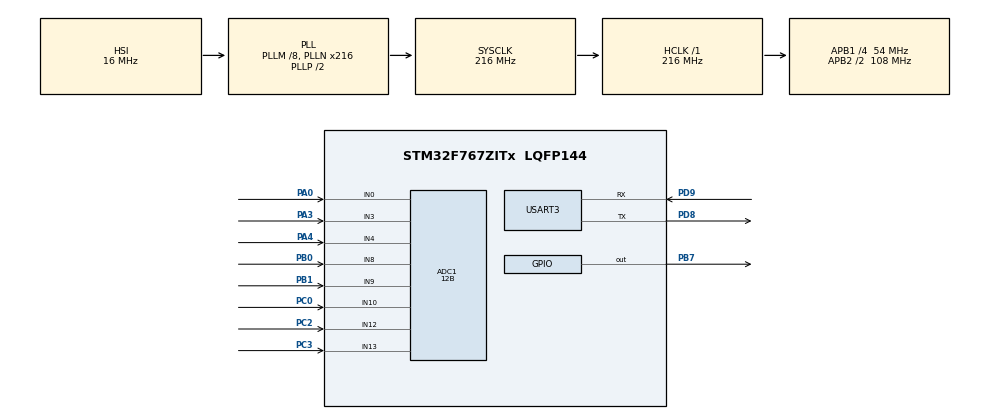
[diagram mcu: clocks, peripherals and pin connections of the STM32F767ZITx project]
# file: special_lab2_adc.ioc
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ADC1.Channel-10\#ChannelRegularConversion=ADC_CHANNEL_4
ADC1.Channel-11\#ChannelRegularConversion=ADC_CHANNEL_8
ADC1.Channel-12\#ChannelRegularConversion=ADC_CHANNEL_9
ADC1.Channel-13\#ChannelRegularConversion=ADC_CHANNEL_10
ADC1.Channel-14\#ChannelRegularConversion=ADC_CHANNEL_12
ADC1.Channel-15\#ChannelRegularConversion=ADC_CHANNEL_13
ADC1.Channel-8\#ChannelRegularConversion=ADC_CHANNEL_0
ADC1.Channel-9\#ChannelRegularConversion=ADC_CHANNEL_3
ADC1.ClockPrescaler=ADC_CLOCK_SYNC_PCLK_DIV8
ADC1.ContinuousConvMode=ENABLE
ADC1.DMAContinuousRequests=ENABLE
ADC1.NbrOfConversion=8
ADC1.NbrOfConversionFlag=1
ADC1.Rank-10\#ChannelRegularConversion=3
ADC1.Rank-11\#ChannelRegularConversion=4
ADC1.Rank-12\#ChannelRegularConversion=5
ADC1.Rank-13\#ChannelRegularConversion=6
ADC1.Rank-14\#ChannelRegularConversion=7
ADC1.Rank-15\#ChannelRegularConversion=8
ADC1.Rank-8\#ChannelRegularConversion=1
ADC1.Rank-9\#ChannelRegularConversion=2
ADC1.Resolution=ADC_RESOLUTION_12B
ADC1.SamplingTime-10\#ChannelRegularConversion=ADC_SAMPLETIME_15CYCLES
ADC1.SamplingTime-11\#ChannelRegularConversion=ADC_SAMPLETIME_15CYCLES
ADC1.SamplingTime-12\#ChannelRegularConversion=ADC_SAMPLETIME_15CYCLES
ADC1.SamplingTime-13\#ChannelRegularConversion=ADC_SAMPLETIME_15CYCLES
ADC1.SamplingTime-14\#ChannelRegularConversion=ADC_SAMPLETIME_15CYCLES
ADC1.SamplingTime-15\#ChannelRegularConversion=ADC_SAMPLETIME_15CYCLES
ADC1.SamplingTime-8\#ChannelRegularConversion=ADC_SAMPLETIME_15CYCLES
ADC1.SamplingTime-9\#ChannelRegularConversion=ADC_SAMPLETIME_15CYCLES
ADC1.ScanConvMode=ADC_SCAN_ENABLE
ADC1.master=1
Dma.ADC1.0.Direction=DMA_PERIPH_TO_MEMORY
Dma.ADC1.0.FIFOMode=DMA_FIFOMODE_ENABLE
Dma.ADC1.0.FIFOThreshold=DMA_FIFO_THRESHOLD_FULL
Dma.ADC1.0.Instance=DMA2_Stream0
Dma.ADC1.0.MemBurst=DMA_MBURST_SINGLE
Dma.ADC1.0.MemDataAlignment=DMA_MDATAALIGN_WORD
Dma.ADC1.0.MemInc=DMA_MINC_ENABLE
Dma.ADC1.0.Mode=DMA_CIRCULAR
Dma.ADC1.0.PeriphBurst=DMA_PBURST_SINGLE
Dma.ADC1.0.PeriphDataAlignment=DMA_PDATAALIGN_WORD
Dma.ADC1.0.PeriphInc=DMA_PINC_DISABLE
Dma.ADC1.0.Priority=DMA_PRIORITY_LOW
Dma.Request0=ADC1
Mcu.Family=STM32F7
Mcu.Name=STM32F767ZITx
Mcu.Package=LQFP144
NVIC.DMA2_Stream0_IRQn=true\:1\:0\:true\:false\:true\:false\:true\:true
NVIC.PriorityGroup=NVIC_PRIORITYGROUP_2
PA0/WKUP.Signal=ADCx_IN0
PA3.Signal=ADCx_IN3
PA4.Signal=ADCx_IN4
PB0.Signal=ADCx_IN8
PB1.Signal=ADCx_IN9
PB7.Signal=GPIO_Output
PC0.Signal=ADCx_IN10
PC2.Signal=ADCx_IN12
PC3.Signal=ADCx_IN13
PD8.Mode=Asynchronous
PD8.Signal=USART3_TX
PD9.Mode=Asynchronous
PD9.Signal=USART3_RX
ProjectManager.HeapSize=0x200
ProjectManager.StackSize=0x400
ProjectManager.TargetToolchain=STM32CubeIDE
RCC.AHBFreq_Value=216000000
RCC.APB1CLKDivider=RCC_HCLK_DIV4
RCC.APB1Freq_Value=54000000
RCC.APB1TimFreq_Value=108000000
RCC.APB2CLKDivider=RCC_HCLK_DIV2
RCC.APB2Freq_Value=108000000
RCC.APB2TimFreq_Value=216000000
RCC.CortexFreq_Value=216000000
RCC.HCLKFreq_Value=216000000
RCC.HSE_VALUE=25000000
RCC.HSI_VALUE=16000000
RCC.LSE_VALUE=32768
RCC.PLLM=8
RCC.PLLN=216
RCC.SYSCLKFreq_VALUE=216000000
RCC.SYSCLKSource=RCC_SYSCLKSOURCE_PLLCLK
RCC.USBFreq_Value=216000000
RCC.VCOOutputFreq_Value=432000000
SH.ADCx_IN0.0=ADC1_IN0,IN0
SH.ADCx_IN10.0=ADC1_IN10,IN10
SH.ADCx_IN12.0=ADC1_IN12,IN12
SH.ADCx_IN13.0=ADC1_IN13,IN13
SH.ADCx_IN3.0=ADC1_IN3,IN3
SH.ADCx_IN4.0=ADC1_IN4,IN4
SH.ADCx_IN8.0=ADC1_IN8,IN8
SH.ADCx_IN9.0=ADC1_IN9,IN9
USART3.VirtualMode-Asynchronous=VM_ASYNC
board=custom

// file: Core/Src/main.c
/* USER CODE BEGIN Header */
/**
 ******************************************************************************
 * @file           : main.c
 * @brief          : Main program body
 ******************************************************************************
 * @attention
 *
 * Copyright (c) 2023 STMicroelectronics.
 * All rights reserved.
 *
 * This software is licensed under terms that can be found in the LICENSE file
 * in the root directory of this software component.
 * If no LICENSE file comes with this software, it is provided AS-IS.
 *
 ******************************************************************************
 */
/* USER CODE END Header */
#include "main.h"

ADC_HandleTypeDef hadc1;
DMA_HandleTypeDef hdma_adc1;

UART_HandleTypeDef huart3;

void SystemClock_Config(void);
static void MX_GPIO_Init(void);
static void MX_DMA_Init(void);
static void MX_ADC1_Init(void);
static void MX_USART3_UART_Init(void);

/* USER CODE BEGIN 0 */
void cleverSend(UART_HandleTypeDef huart, char *tosend) {
	while (__HAL_UART_GET_FLAG(&huart,UART_FLAG_TC) == RESET) {
	}
	HAL_UART_Transmit(&huart, (uint8_t*) tosend, strlen(tosend), HAL_MAX_DELAY);
}

char printBuffer[100] = { 0 };
volatile uint32_t adc_dma_result[8];
int adc_channel_count = 8;

void HAL_ADC_ConvCpltCallback(ADC_HandleTypeDef *hadc) {
	HAL_GPIO_WritePin(GPIOB, GPIO_PIN_7, GPIO_PIN_RESET); // ดับ LED
	sprintf(printBuffer,
			"%4u %4u %4u %4u\n%4u %4u %4u %4u\r",
			adc_dma_result[0], adc_dma_result[1], adc_dma_result[2],
			adc_dma_result[3], adc_dma_result[4], adc_dma_result[5],
			adc_dma_result[6], adc_dma_result[7]);
	while (__HAL_UART_GET_FLAG(&huart3,UART_FLAG_TC) == RESET) {
	}
	HAL_UART_Transmit(&huart3, (uint8_t*) printBuffer, strlen(printBuffer),
			HAL_MAX_DELAY);
	HAL_ADC_Stop_DMA(&hadc1);
	HAL_Delay(1000);
	HAL_ADC_Start_DMA(&hadc1, (uint32_t*) adc_dma_result, adc_channel_count);
}
void HAL_ADC_ConvHalfCpltCallback(ADC_HandleTypeDef *hadc) {
	// เมื่อ DMA ถ่ายโอนข้อมูลครึ่งหนึ่ง
	HAL_GPIO_WritePin(GPIOB, GPIO_PIN_7, GPIO_PIN_SET); // ติด LED
}

/* USER CODE END 0 */

int main(void)
{

  /* MCU Configuration--------------------------------------------------------*/

  /* Reset of all peripherals, Initializes the Flash interface and the Systick. */
  HAL_Init();

  /* Configure the system clock */
  SystemClock_Config();

  /* Initialize all configured peripherals */
  MX_GPIO_Init();
  MX_DMA_Init();
  MX_ADC1_Init();
  MX_USART3_UART_Init();
  /* USER CODE BEGIN 2 */

	HAL_ADC_Start_DMA(&hadc1, (uint32_t*) adc_dma_result, adc_channel_count);

  /* USER CODE END 2 */

  /* Infinite loop */
	while (1) {

	}
}

void SystemClock_Config(void)
{
  RCC_OscInitTypeDef RCC_OscInitStruct = {0};
  RCC_ClkInitTypeDef RCC_ClkInitStruct = {0};

  /** Configure the main internal regulator output voltage
  */
  __HAL_RCC_PWR_CLK_ENABLE();
  __HAL_PWR_VOLTAGESCALING_CONFIG(PWR_REGULATOR_VOLTAGE_SCALE1);

  /** Initializes the RCC Oscillators according to the specified parameters
  * in the RCC_OscInitTypeDef structure.
  */
  RCC_OscInitStruct.OscillatorType = RCC_OSCILLATORTYPE_HSI;
  RCC_OscInitStruct.HSIState = RCC_HSI_ON;
  RCC_OscInitStruct.HSICalibrationValue = RCC_HSICALIBRATION_DEFAULT;
  RCC_OscInitStruct.PLL.PLLState = RCC_PLL_ON;
  RCC_OscInitStruct.PLL.PLLSource = RCC_PLLSOURCE_HSI;
  RCC_OscInitStruct.PLL.PLLM = 8;
  RCC_OscInitStruct.PLL.PLLN = 216;
  RCC_OscInitStruct.PLL.PLLP = RCC_PLLP_DIV2;
  RCC_OscInitStruct.PLL.PLLQ = 2;
  RCC_OscInitStruct.PLL.PLLR = 2;
  if (HAL_RCC_OscConfig(&RCC_OscInitStruct) != HAL_OK)
  {
    Error_Handler();
  }

  /** Activate the Over-Drive mode
  */
  if (HAL_PWREx_EnableOverDrive() != HAL_OK)
  {
    Error_Handler();
  }

  /** Initializes the CPU, AHB and APB buses clocks
  */
  RCC_ClkInitStruct.ClockType = RCC_CLOCKTYPE_HCLK|RCC_CLOCKTYPE_SYSCLK
                              |RCC_CLOCKTYPE_PCLK1|RCC_CLOCKTYPE_PCLK2;
  RCC_ClkInitStruct.SYSCLKSource = RCC_SYSCLKSOURCE_PLLCLK;
  RCC_ClkInitStruct.AHBCLKDivider = RCC_SYSCLK_DIV1;
  RCC_ClkInitStruct.APB1CLKDivider = RCC_HCLK_DIV4;
  RCC_ClkInitStruct.APB2CLKDivider = RCC_HCLK_DIV2;

  if (HAL_RCC_ClockConfig(&RCC_ClkInitStruct, FLASH_LATENCY_7) != HAL_OK)
  {
    Error_Handler();
  }
}

static void MX_ADC1_Init(void)
{

  ADC_ChannelConfTypeDef sConfig = {0};

  /** Configure the global features of the ADC (Clock, Resolution, Data Alignment and number of conversion)
  */
  hadc1.Instance = ADC1;
  hadc1.Init.ClockPrescaler = ADC_CLOCK_SYNC_PCLK_DIV8;
  hadc1.Init.Resolution = ADC_RESOLUTION_12B;
  hadc1.Init.ScanConvMode = ADC_SCAN_ENABLE;
  hadc1.Init.ContinuousConvMode = ENABLE;
  hadc1.Init.DiscontinuousConvMode = DISABLE;
  hadc1.Init.ExternalTrigConvEdge = ADC_EXTERNALTRIGCONVEDGE_NONE;
  hadc1.Init.ExternalTrigConv = ADC_SOFTWARE_START;
  hadc1.Init.DataAlign = ADC_DATAALIGN_RIGHT;
  hadc1.Init.NbrOfConversion = 8;
  hadc1.Init.DMAContinuousRequests = ENABLE;
  hadc1.Init.EOCSelection = ADC_EOC_SINGLE_CONV;
  if (HAL_ADC_Init(&hadc1) != HAL_OK)
  {
    Error_Handler();
  }

  /** Configure for the selected ADC regular channel its corresponding rank in the sequencer and its sample time.
  */
  sConfig.Channel = ADC_CHANNEL_0;
  sConfig.Rank = ADC_REGULAR_RANK_1;
  sConfig.SamplingTime = ADC_SAMPLETIME_15CYCLES;
  if (HAL_ADC_ConfigChannel(&hadc1, &sConfig) != HAL_OK)
  {
    Error_Handler();
  }

  /** Configure for the selected ADC regular channel its corresponding rank in the sequencer and its sample time.
  */
  sConfig.Channel = ADC_CHANNEL_3;
  sConfig.Rank = ADC_REGULAR_RANK_2;
  if (HAL_ADC_ConfigChannel(&hadc1, &sConfig) != HAL_OK)
  {
    Error_Handler();
  }

  /** Configure for the selected ADC regular channel its corresponding rank in the sequencer and its sample time.
  */
  sConfig.Channel = ADC_CHANNEL_4;
  sConfig.Rank = ADC_REGULAR_RANK_3;
  if (HAL_ADC_ConfigChannel(&hadc1, &sConfig) != HAL_OK)
  {
    Error_Handler();
  }

  /** Configure for the selected ADC regular channel its corresponding rank in the sequencer and its sample time.
  */
  sConfig.Channel = ADC_CHANNEL_8;
  sConfig.Rank = ADC_REGULAR_RANK_4;
  if (HAL_ADC_ConfigChannel(&hadc1, &sConfig) != HAL_OK)
  {
    Error_Handler();
  }

  /** Configure for the selected ADC regular channel its corresponding rank in the sequencer and its sample time.
  */
  sConfig.Channel = ADC_CHANNEL_9;
  sConfig.Rank = ADC_REGULAR_RANK_5;
  if (HAL_ADC_ConfigChannel(&hadc1, &sConfig) != HAL_OK)
  {
    Error_Handler();
  }

  /** Configure for the selected ADC regular channel its corresponding rank in the sequencer and its sample time.
  */
  sConfig.Channel = ADC_CHANNEL_10;
  sConfig.Rank = ADC_REGULAR_RANK_6;
  if (HAL_ADC_ConfigChannel(&hadc1, &sConfig) != HAL_OK)
  {
    Error_Handler();
  }

  /** Configure for the selected ADC regular channel its corresponding rank in the sequencer and its sample time.
  */
  sConfig.Channel = ADC_CHANNEL_12;
  sConfig.Rank = ADC_REGULAR_RANK_7;
  if (HAL_ADC_ConfigChannel(&hadc1, &sConfig) != HAL_OK)
  {
    Error_Handler();
  }

  /** Configure for the selected ADC regular channel its corresponding rank in the sequencer and its sample time.
  */
  sConfig.Channel = ADC_CHANNEL_13;
  sConfig.Rank = ADC_REGULAR_RANK_8;
  if (HAL_ADC_ConfigChannel(&hadc1, &sConfig) != HAL_OK)
  {
    Error_Handler();
  }

}

static void MX_USART3_UART_Init(void)
{

  huart3.Instance = USART3;
  huart3.Init.BaudRate = 115200;
  huart3.Init.WordLength = UART_WORDLENGTH_8B;
  huart3.Init.StopBits = UART_STOPBITS_1;
  huart3.Init.Parity = UART_PARITY_NONE;
  huart3.Init.Mode = UART_MODE_TX_RX;
  huart3.Init.HwFlowCtl = UART_HWCONTROL_NONE;
  huart3.Init.OverSampling = UART_OVERSAMPLING_16;
  huart3.Init.OneBitSampling = UART_ONE_BIT_SAMPLE_DISABLE;
  huart3.AdvancedInit.AdvFeatureInit = UART_ADVFEATURE_NO_INIT;
  if (HAL_UART_Init(&huart3) != HAL_OK)
  {
    Error_Handler();
  }

}

static void MX_DMA_Init(void)
{

  /* DMA controller clock enable */
  __HAL_RCC_DMA2_CLK_ENABLE();

  /* DMA interrupt init */
  /* DMA2_Stream0_IRQn interrupt configuration */
  HAL_NVIC_SetPriority(DMA2_Stream0_IRQn, 1, 0);
  HAL_NVIC_EnableIRQ(DMA2_Stream0_IRQn);

}

static void MX_GPIO_Init(void)
{
  GPIO_InitTypeDef GPIO_InitStruct = {0};

  /* GPIO Ports Clock Enable */
  __HAL_RCC_GPIOC_CLK_ENABLE();
  __HAL_RCC_GPIOA_CLK_ENABLE();
  __HAL_RCC_GPIOB_CLK_ENABLE();
  __HAL_RCC_GPIOD_CLK_ENABLE();

  /*Configure GPIO pin Output Level */
  HAL_GPIO_WritePin(GPIOB, GPIO_PIN_7, GPIO_PIN_RESET);

  /*Configure GPIO pin : PB7 */
  GPIO_InitStruct.Pin = GPIO_PIN_7;
  GPIO_InitStruct.Mode = GPIO_MODE_OUTPUT_PP;
  GPIO_InitStruct.Pull = GPIO_NOPULL;
  GPIO_InitStruct.Speed = GPIO_SPEED_FREQ_LOW;
  HAL_GPIO_Init(GPIOB, &GPIO_InitStruct);

}

void Error_Handler(void)
{
	__disable_irq();
	while (1) {
	}
}
